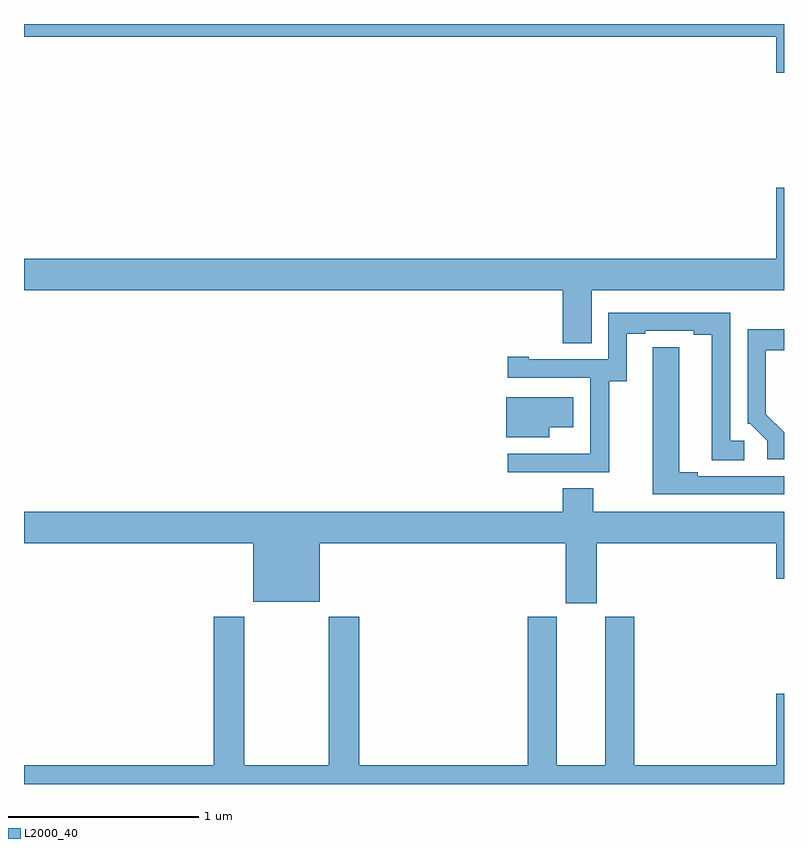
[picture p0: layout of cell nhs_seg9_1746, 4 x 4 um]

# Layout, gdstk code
import gdstk
lib = gdstk.Library(unit=1e-6, precision=1e-09)
def P(c, l, *ps):  # polygons
    for p in ps: c.add(gdstk.Polygon(p, *l))
L2000_40 = (2000, 40)

nhs_seg9_1746 = lib.new_cell('nhs_seg9_1746')
P(nhs_seg9_1746, L2000_40, [(213,1184.5),(209,1184.5),(209,1184.432),(212.96,1184.432),(212.96,1184.244),(213,1184.244)],
  [(211.987,1183.1),(213,1183.1),(213,1183.639),(212.96,1183.639),(212.96,1183.264),(209,1183.264),(209,1183.1),(211.835,1183.1),(211.835,1182.82),(211.987,1182.82)],
  [(212.079,1182.619),(212.173,1182.619),(212.173,1182.87),(212.269,1182.87),(212.269,1182.885),(212.525,1182.885),(212.525,1182.865),(212.621,1182.865),(212.621,1182.205),(212.791,1182.205),(212.791,1182.306),(212.718,1182.306),(212.718,1182.981),(212.076,1182.981),(212.076,1182.735),(211.657,1182.735),(211.657,1182.748),(211.545,1182.748),(211.545,1182.639),(211.98,1182.639),(211.98,1182.238),(211.979,1182.238),(211.979,1182.237),(211.545,1182.237),(211.545,1182.141),(212.079,1182.141)],
  [(213,1182.351),(212.905,1182.446),(212.905,1182.783),(213,1182.783),(213,1182.893),(212.808,1182.893),(212.808,1182.396),(212.823,1182.396),(212.913,1182.306),(212.913,1182.21),(213,1182.21)],
  [(213,1182.12),(212.545,1182.12),(212.545,1182.14),(212.449,1182.14),(212.449,1182.8),(212.31,1182.8),(212.31,1182.692),(212.309,1182.692),(212.309,1182.024),(213,1182.024)],
  [(211.765,1182.377),(211.891,1182.377),(211.891,1182.535),(211.538,1182.535),(211.538,1182.326),(211.765,1182.326)],
  [(212.014,1181.768),(212.96,1181.768),(212.96,1181.58),(213,1181.58),(213,1181.932),(211.995,1181.932),(211.995,1182.056),(211.835,1182.056),(211.835,1181.932),(209,1181.932),(209,1181.768),(210.206,1181.768),(210.206,1181.459),(210.556,1181.459),(210.556,1181.768),(211.85,1181.768),(211.85,1181.451),(212.014,1181.451)],
  [(213,1180.975),(212.96,1180.975),(212.96,1180.6),(212.213,1180.6),(212.213,1181.379),(212.06,1181.379),(212.06,1180.6),(211.804,1180.6),(211.804,1181.379),(211.652,1181.379),(211.652,1180.6),(210.764,1180.6),(210.764,1181.38),(210.604,1181.38),(210.604,1180.6),(210.159,1180.6),(210.159,1181.38),(209.999,1181.38),(209.999,1180.6),(209,1180.6),(209,1180.5),(213,1180.5)])

lib.write_gds('nhs_seg9_1746.gds')
